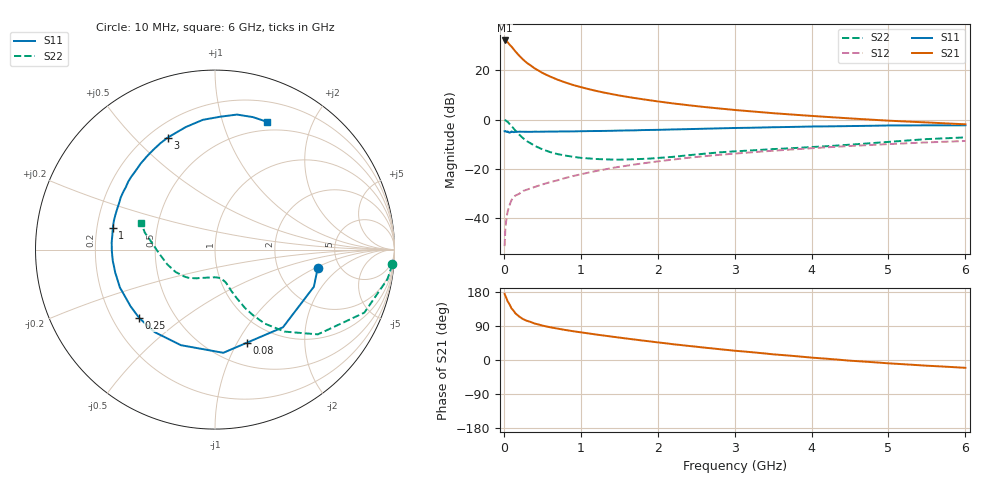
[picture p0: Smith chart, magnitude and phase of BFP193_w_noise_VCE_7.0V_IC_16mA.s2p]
! Infineon Technologies  Discrete & RF Semiconductors
! BFP193
! VCE =  7.0 V,  IC =  16 mA
! Common Emitter S-Parameters:  Jan 2017
# GHz  S  MA  R  50
!  f  S11  S21  S12  S22
! GHz  MAG  ANG  MAG  ANG  MAG  ANG  MAG  ANG
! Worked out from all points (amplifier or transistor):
!   77 points, 10 MHz to 6 GHz, reference 50 ohm
!   highest |S21| = 32.2 dB at 10 MHz (marker M1)
!   |S21| within 3 dB of that: start of sweep to 112.9 MHz
!   unconditionally stable (mu >= 1): 971.7 MHz to 2.535 GHz
!   at 130 MHz: K = 0.32, MSG = 30.0 dB, |S12| = -31.5 dB
!   at 2.2 GHz: K = 1.02, MAG = 10.5 dB, |S12| = -16.2 dB
!   at 6 GHz: K = 0.89, MSG = 3.4 dB, |S12| = -8.7 dB
!   lowest NFmin = 0.97 dB at 450 MHz
!   S11 on the Smith chart (normalised r, x): 10 MHz: 3.41, -1.08; 80 MHz: 0.74, -1.10; 250 MHz: 0.31, -0.35; 1 GHz: 0.27, +0.10; 3 GHz: 0.27, +0.63; 6 GHz: 0.40, +1.41
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0.01  0.5815 -10.4  40.57 174.4  0.0027 86.4  0.9915 -4.8
0.02  0.5884 -20.6  40.42 169.4  0.0061 85.7  0.9746 -9.8
0.05  0.5751 -48.8  37.17 154.7  0.0138 71.2  0.9031 -22.9
0.08  0.5482 -70.9  32.68 144.4  0.0194 62.9  0.7983 -32.1
0.1  0.5768 -85.4  30.42 136.0  0.0233 59.6  0.7423 -39.5
0.15  0.5654 -109.6  24.31 123.2  0.0288 51.2  0.599 -49.7
0.2  0.5695 -126.1  19.89 114.6  0.0313 49.7  0.4966 -56.1
0.25  0.5688 -137.9  16.64 107.9  0.0357 48.4  0.4207 -60.0
0.3  0.5666 -146.2  14.21 103.4  0.0379 48.5  0.3657 -62.8
0.4  0.5704 -158.3  11.02 96.2  0.0429 50.3  0.2941 -66.0
0.5  0.5703 -167.0  8.921 90.9  0.0483 52.2  0.25 -68.3
0.6  0.573 -173.7  7.518 86.5  0.0538 53.5  0.2202 -69.9
0.7  0.5747 -178.9  6.468 82.8  0.0588 55.3  0.1995 -71.2
1  0.582 167.9  4.584 73.0  0.0777 57.0  0.1678 -77.0
1.1  0.5858 164.2  4.179 70.2  0.0841 57.7  0.1634 -79.2
1.5  0.6002 151.0  3.093 59.2  0.1103 56.5  0.1541 -91.6
2.1  0.6266 133.5  2.241 44.2  0.1484 52.5  0.1711 -113.1
3  0.6776 112.9  1.574 24.5  0.2045 44.0  0.2276 -138.8
3.1  0.6809 110.9  1.527 22.8  0.2103 43.0  0.2318 -141.3
4.1  0.7282 93.8  1.164 4.8  0.2687 32.7  0.2833 -165.5
5.1  0.7625 79.4  0.938 -10.0  0.3242 21.7  0.3632 172.1
6  0.7686 67.9  0.805 -20.7  0.3692 11.6  0.4366 160.2
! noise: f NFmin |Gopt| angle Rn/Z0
0.45  0.97  0.24  173  0.07
0.9  1.06  0.36  179  0.07
1.9  1.74  0.56  -142  0.14
2.4  2.05  0.62  -125  0.33
